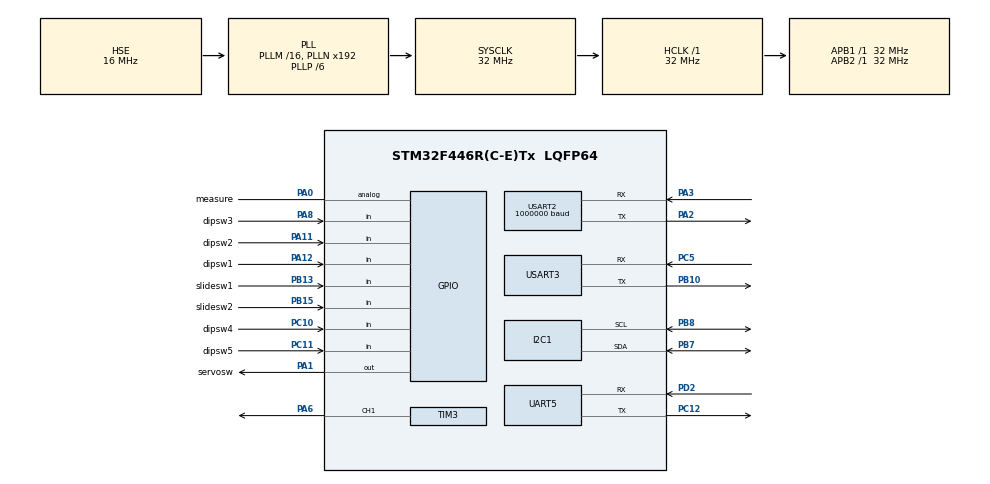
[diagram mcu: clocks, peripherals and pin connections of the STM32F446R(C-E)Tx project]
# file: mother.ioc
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Dma.Request0=TIM3_CH1/TRIG
Dma.Request1=USART2_RX
Dma.Request2=UART5_RX
Dma.TIM3_CH1/TRIG.0.Direction=DMA_MEMORY_TO_PERIPH
Dma.TIM3_CH1/TRIG.0.FIFOMode=DMA_FIFOMODE_DISABLE
Dma.TIM3_CH1/TRIG.0.Instance=DMA1_Stream4
Dma.TIM3_CH1/TRIG.0.MemDataAlignment=DMA_MDATAALIGN_WORD
Dma.TIM3_CH1/TRIG.0.MemInc=DMA_MINC_ENABLE
Dma.TIM3_CH1/TRIG.0.Mode=DMA_CIRCULAR
Dma.TIM3_CH1/TRIG.0.PeriphDataAlignment=DMA_PDATAALIGN_WORD
Dma.TIM3_CH1/TRIG.0.PeriphInc=DMA_PINC_DISABLE
Dma.TIM3_CH1/TRIG.0.Priority=DMA_PRIORITY_VERY_HIGH
Dma.UART5_RX.2.Direction=DMA_PERIPH_TO_MEMORY
Dma.UART5_RX.2.FIFOMode=DMA_FIFOMODE_DISABLE
Dma.UART5_RX.2.Instance=DMA1_Stream0
Dma.UART5_RX.2.MemDataAlignment=DMA_MDATAALIGN_BYTE
Dma.UART5_RX.2.MemInc=DMA_MINC_ENABLE
Dma.UART5_RX.2.Mode=DMA_CIRCULAR
Dma.UART5_RX.2.PeriphDataAlignment=DMA_PDATAALIGN_BYTE
Dma.UART5_RX.2.PeriphInc=DMA_PINC_DISABLE
Dma.UART5_RX.2.Priority=DMA_PRIORITY_MEDIUM
Dma.USART2_RX.1.Direction=DMA_PERIPH_TO_MEMORY
Dma.USART2_RX.1.FIFOMode=DMA_FIFOMODE_DISABLE
Dma.USART2_RX.1.Instance=DMA1_Stream5
Dma.USART2_RX.1.MemDataAlignment=DMA_MDATAALIGN_BYTE
Dma.USART2_RX.1.MemInc=DMA_MINC_ENABLE
Dma.USART2_RX.1.Mode=DMA_CIRCULAR
Dma.USART2_RX.1.PeriphDataAlignment=DMA_PDATAALIGN_BYTE
Dma.USART2_RX.1.PeriphInc=DMA_PINC_DISABLE
Dma.USART2_RX.1.Priority=DMA_PRIORITY_MEDIUM
Mcu.Family=STM32F4
Mcu.Name=STM32F446R(C-E)Tx
Mcu.Package=LQFP64
NVIC.DMA1_Stream0_IRQn=true\:0\:0\:false\:false\:true\:false\:true\:true
NVIC.DMA1_Stream4_IRQn=true\:0\:0\:false\:false\:true\:false\:true\:true
NVIC.DMA1_Stream5_IRQn=true\:0\:0\:false\:false\:true\:false\:true\:true
NVIC.PriorityGroup=NVIC_PRIORITYGROUP_4
NVIC.TIM3_IRQn=true\:0\:0\:false\:false\:true\:true\:true\:true
NVIC.TIM6_DAC_IRQn=true\:0\:0\:false\:false\:true\:true\:true\:true
PA0-WKUP.GPIO_Label=measure
PA0-WKUP.Signal=GPIO_Analog
PA1.GPIO_Label=servosw
PA1.Signal=GPIO_Output
PA11.GPIO_Label=dipsw2
PA11.Signal=GPIO_Input
PA12.GPIO_Label=dipsw1
PA12.Signal=GPIO_Input
PA2.Mode=Asynchronous
PA2.Signal=USART2_TX
PA3.Mode=Asynchronous
PA3.Signal=USART2_RX
PA6.Signal=S_TIM3_CH1
PA8.GPIO_Label=dipsw3
PA8.Signal=GPIO_Input
PB10.Mode=Asynchronous
PB10.Signal=USART3_TX
PB13.GPIO_Label=slidesw1
PB13.Signal=GPIO_Input
PB15.GPIO_Label=slidesw2
PB15.Signal=GPIO_Input
PB7.Mode=I2C
PB7.Signal=I2C1_SDA
PB8.Mode=I2C
PB8.Signal=I2C1_SCL
PC10.GPIO_Label=dipsw4
PC10.Signal=GPIO_Input
PC11.GPIO_Label=dipsw5
PC11.Signal=GPIO_Input
PC12.Mode=Asynchronous
PC12.Signal=UART5_TX
PC5.Mode=Asynchronous
PC5.Signal=USART3_RX
PD2.Mode=Asynchronous
PD2.Signal=UART5_RX
PH0-OSC_IN.Mode=HSE-External-Oscillator
PH0-OSC_IN.Signal=RCC_OSC_IN
PH1-OSC_OUT.Mode=HSE-External-Oscillator
PH1-OSC_OUT.Signal=RCC_OSC_OUT
ProjectManager.HeapSize=0x200
ProjectManager.StackSize=0x400
ProjectManager.TargetToolchain=STM32CubeIDE
RCC.AHBFreq_Value=32000000
RCC.APB1Freq_Value=32000000
RCC.APB1TimFreq_Value=32000000
RCC.APB2Freq_Value=32000000
RCC.APB2TimFreq_Value=32000000
RCC.CortexFreq_Value=32000000
RCC.HCLKFreq_Value=32000000
RCC.HSE_VALUE=16000000
RCC.PLLP=RCC_PLLP_DIV6
RCC.PLLSourceVirtual=RCC_PLLSOURCE_HSE
RCC.SYSCLKFreq_VALUE=32000000
RCC.SYSCLKSource=RCC_SYSCLKSOURCE_PLLCLK
RCC.USBFreq_Value=96000000
RCC.VCOOutputFreq_Value=192000000
SH.S_TIM3_CH1.0=TIM3_CH1,PWM Generation1 CH1
TIM3.Channel-PWM\ Generation1\ CH1=TIM_CHANNEL_1
TIM3.Period=40-1
TIM3.Prescaler=1-1
TIM6.Period=1000-1
TIM6.Prescaler=32-1
UART5.VirtualMode=Asynchronous
USART2.BaudRate=1000000
USART2.VirtualMode=VM_ASYNC
USART3.VirtualMode=VM_ASYNC
VP_TIM3_VS_ClockSourceINT.Mode=Internal
VP_TIM6_VS_ClockSourceINT.Mode=Enable_Timer
board=custom

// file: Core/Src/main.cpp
/* USER CODE BEGIN Header */
/**
 ******************************************************************************
 * @file           : main.c
 * @brief          : Main program body
 ******************************************************************************
 * @attention
 *
 * Copyright (c) 2024 STMicroelectronics.
 * All rights reserved.
 *
 * This software is licensed under terms that can be found in the LICENSE file
 * in the root directory of this software component.
 * If no LICENSE file comes with this software, it is provided AS-IS.
 *
 ******************************************************************************
 */
/* USER CODE END Header */
#include "main.h"

/* USER CODE BEGIN Includes */
#include "ws2812c.h"
#include "calc.h"
#include "STS.h"
#include "BNO055.hpp"

/* USER CODE END Includes */

I2C_HandleTypeDef hi2c1;

TIM_HandleTypeDef htim3;
TIM_HandleTypeDef htim6;
DMA_HandleTypeDef hdma_tim3_ch1_trig;

UART_HandleTypeDef huart5;
UART_HandleTypeDef huart2;
UART_HandleTypeDef huart3;
DMA_HandleTypeDef hdma_uart5_rx;
DMA_HandleTypeDef hdma_usart2_rx;

/* USER CODE BEGIN PV */
WS2812C NeopixelTape(&htim3, TIM_CHANNEL_1, &hdma_tim3_ch1_trig);
CALC calc;
STS servo0(&huart2, 0);
STS servo1(&huart2, 1);
STS servo2(&huart2, 2);
STS servo3(&huart2, 3);

int16_t servoPos0 = 0;
int16_t servoPos1 = 0;
int16_t servoPos2 = 0;
int16_t servoPos3 = 0;
uint8_t rxBuf[128];
uint8_t tweliteRxBuf[128];

int16_t ledPos0 = 0;
int16_t ledPos1 = 0;
int16_t ledPos2 = 0;

uint8_t sendArray[8] = {255, 255, 0, 0, 0, 0, 0, 0};
uint16_t degree = 0;

uint8_t ready = 0;
int16_t gyro;

uint8_t ID = 0;

uint32_t m = 0;

uint8_t mode = 0;
uint16_t count = 0;
uint8_t hue = 0;

uint32_t millis = 0;

uint16_t countLocal = 0;

static int16_t i = 8;
static int16_t moveRotation = 0;

uint8_t tweliteData[4] = {0};

uint16_t beat = 0;
uint8_t measureA = 0;
uint8_t measureB = 0;

/* USER CODE END PV */

void SystemClock_Config(void);
static void MX_GPIO_Init(void);
static void MX_DMA_Init(void);
static void MX_I2C1_Init(void);
static void MX_TIM3_Init(void);
static void MX_USART2_UART_Init(void);
static void MX_USART3_UART_Init(void);
static void MX_UART5_Init(void);
static void MX_TIM6_Init(void);
/* USER CODE BEGIN PFP */
void get_position(uint8_t servoID);
void sendData(uint16_t angle, uint8_t speed, int16_t rotation);
void twelite();
void setMode();
void modeError();
void mode0();
void mode1();
void mode2();
void mode3();
void mode4();
void mode5();
void mode6();
void mode7();
void mode8();
void mode9();
void mode10();
void mode11();
void mode12();
void mode13();
void mode14();
void mode15();
void mode16();
void mode17();
void mode18();
void mode19();
void mode20();
void mode21();
void mode22();
void mode23();
void mode24();
void mode25();

/* USER CODE END PFP */

/* USER CODE BEGIN 0 */
void HAL_TIM_PWM_PulseFinishedCallback(TIM_HandleTypeDef *htim)
{
  if (htim == &htim3)
  {
    NeopixelTape.execute();
  }
}

void HAL_TIM_PeriodElapsedCallback(TIM_HandleTypeDef *htim)
{
  if (htim == &htim6)
  {
    millis++;
  }
}

/* USER CODE END 0 */

int main(void)
{

  /* MCU Configuration--------------------------------------------------------*/

  /* Reset of all peripherals, Initializes the Flash interface and the Systick. */
  HAL_Init();

  /* Configure the system clock */
  SystemClock_Config();

  /* Initialize all configured peripherals */
  MX_GPIO_Init();
  MX_DMA_Init();
  MX_I2C1_Init();
  MX_TIM3_Init();
  MX_USART2_UART_Init();
  MX_USART3_UART_Init();
  MX_UART5_Init();
  MX_TIM6_Init();
  /* USER CODE BEGIN 2 */
  NeopixelTape.init();

  if (HAL_GPIO_ReadPin(dipsw1_GPIO_Port, dipsw1_Pin) == 1)
  {
    ID = 1;
  }
  else if (HAL_GPIO_ReadPin(dipsw2_GPIO_Port, dipsw2_Pin) == 1)
  {
    ID = 2;
  }
  else if (HAL_GPIO_ReadPin(dipsw3_GPIO_Port, dipsw3_Pin) == 1)
  {
    ID = 3;
  }
  else
  {
    while (1)
      ;
  }

  HAL_TIM_Base_Start_IT(&htim6);
  HAL_UART_Receive_DMA(&huart2, rxBuf, sizeof(rxBuf));
  HAL_UART_Receive_DMA(&huart5, tweliteRxBuf, sizeof(tweliteRxBuf));
  HAL_GPIO_WritePin(servosw_GPIO_Port, servosw_Pin, GPIO_PIN_SET);
  HAL_Delay(1000);

  while (!ready)
  {
    if (HAL_I2C_IsDeviceReady(&hi2c1, 0x28 << 1, 10, 1000) == HAL_OK)
    {
      ready = 1;
    }
    else
    {
      HAL_Delay(100);
    }
  }

  /* USER CODE END 2 */

  /* Infinite loop */
  /* USER CODE BEGIN WHILE */
  unsigned char address = 0x28;
  BNO055 bno055(hi2c1, address);
  EULAR e;

  while (1)
  {
    /* USER CODE END WHILE */

    /* USER CODE BEGIN 3 */
    e = bno055.get_eular();
    gyro = (e.z / M_PI) * 180;

    ledPos0 = (-gyro + ((servoPos0 % 4096 + 4096) % 4096) * 360 / 4096 + 360) % 360;
    ledPos2 = (ledPos0 + ((servoPos2 % 4096 + 4096) % 4096) * 360 / 4096) % 360;

    get_position(0);
    get_position(2);

    twelite();
	setMode();

	if (mode == 0)
	{
	  mode0();
	}
	else if (mode == 1 || millis < 7500)
	{
	  mode1();
	}
	else if (mode == 2 || millis < 22500)
	{
	  mode2();
	}
	else if (mode == 3 || millis < 37000)
	{
	  mode3();
	}
	else if (mode == 4 || millis < 52000)
	{
	  mode4();
	}
	else if (mode == 5 || millis < 60000)
	{
	  mode5();
	}
	else if (mode == 6 || millis < 67000)
	{
	  mode6();
	}
	else if (mode == 7 || millis < 74500)
	{
	  mode7();
	}
	else if (mode == 8 || millis < 100000)
	{
	  mode8();
	}
	else if (mode == 9 || millis < 200000)
	{
	  mode9();
	}
	else if (mode == 10 || millis < 208500)
	{
	  mode10();
	}
	else if (mode == 11 || millis < 222500)
	{
	  mode11();
	}
	else if (mode == 12 || millis < 234700)
	{
	  mode12();
	}
	else if (mode == 13 || millis < 238000)
	{
	  mode13();
	}
	else if (mode == 14 || millis < 244500)
	{
	  mode14();
	}
	else if (mode == 15 || millis >= 244500)
	{
	  mode15();
	}
	else
	{
	  modeError();
	}
  }
  /* USER CODE END 3 */
}

void SystemClock_Config(void)
{
  RCC_OscInitTypeDef RCC_OscInitStruct = {0};
  RCC_ClkInitTypeDef RCC_ClkInitStruct = {0};

  /** Configure the main internal regulator output voltage
   */
  __HAL_RCC_PWR_CLK_ENABLE();
  __HAL_PWR_VOLTAGESCALING_CONFIG(PWR_REGULATOR_VOLTAGE_SCALE3);

  /** Initializes the RCC Oscillators according to the specified parameters
   * in the RCC_OscInitTypeDef structure.
   */
  RCC_OscInitStruct.OscillatorType = RCC_OSCILLATORTYPE_HSE;
  RCC_OscInitStruct.HSEState = RCC_HSE_ON;
  RCC_OscInitStruct.PLL.PLLState = RCC_PLL_ON;
  RCC_OscInitStruct.PLL.PLLSource = RCC_PLLSOURCE_HSE;
  RCC_OscInitStruct.PLL.PLLM = 16;
  RCC_OscInitStruct.PLL.PLLN = 192;
  RCC_OscInitStruct.PLL.PLLP = RCC_PLLP_DIV6;
  RCC_OscInitStruct.PLL.PLLQ = 2;
  RCC_OscInitStruct.PLL.PLLR = 2;
  if (HAL_RCC_OscConfig(&RCC_OscInitStruct) != HAL_OK)
  {
    Error_Handler();
  }

  /** Initializes the CPU, AHB and APB buses clocks
   */
  RCC_ClkInitStruct.ClockType = RCC_CLOCKTYPE_HCLK | RCC_CLOCKTYPE_SYSCLK | RCC_CLOCKTYPE_PCLK1 | RCC_CLOCKTYPE_PCLK2;
  RCC_ClkInitStruct.SYSCLKSource = RCC_SYSCLKSOURCE_PLLCLK;
  RCC_ClkInitStruct.AHBCLKDivider = RCC_SYSCLK_DIV1;
  RCC_ClkInitStruct.APB1CLKDivider = RCC_HCLK_DIV1;
  RCC_ClkInitStruct.APB2CLKDivider = RCC_HCLK_DIV1;

  if (HAL_RCC_ClockConfig(&RCC_ClkInitStruct, FLASH_LATENCY_1) != HAL_OK)
  {
    Error_Handler();
  }
}

static void MX_I2C1_Init(void)
{

  hi2c1.Instance = I2C1;
  hi2c1.Init.ClockSpeed = 100000;
  hi2c1.Init.DutyCycle = I2C_DUTYCYCLE_2;
  hi2c1.Init.OwnAddress1 = 0;
  hi2c1.Init.AddressingMode = I2C_ADDRESSINGMODE_7BIT;
  hi2c1.Init.DualAddressMode = I2C_DUALADDRESS_DISABLE;
  hi2c1.Init.OwnAddress2 = 0;
  hi2c1.Init.GeneralCallMode = I2C_GENERALCALL_DISABLE;
  hi2c1.Init.NoStretchMode = I2C_NOSTRETCH_DISABLE;
  if (HAL_I2C_Init(&hi2c1) != HAL_OK)
  {
    Error_Handler();
  }
}

static void MX_TIM3_Init(void)
{

  TIM_ClockConfigTypeDef sClockSourceConfig = {0};
  TIM_MasterConfigTypeDef sMasterConfig = {0};
  TIM_OC_InitTypeDef sConfigOC = {0};

  htim3.Instance = TIM3;
  htim3.Init.Prescaler = 1 - 1;
  htim3.Init.CounterMode = TIM_COUNTERMODE_UP;
  htim3.Init.Period = 40 - 1;
  htim3.Init.ClockDivision = TIM_CLOCKDIVISION_DIV1;
  htim3.Init.AutoReloadPreload = TIM_AUTORELOAD_PRELOAD_DISABLE;
  if (HAL_TIM_Base_Init(&htim3) != HAL_OK)
  {
    Error_Handler();
  }
  sClockSourceConfig.ClockSource = TIM_CLOCKSOURCE_INTERNAL;
  if (HAL_TIM_ConfigClockSource(&htim3, &sClockSourceConfig) != HAL_OK)
  {
    Error_Handler();
  }
  if (HAL_TIM_PWM_Init(&htim3) != HAL_OK)
  {
    Error_Handler();
  }
  sMasterConfig.MasterOutputTrigger = TIM_TRGO_RESET;
  sMasterConfig.MasterSlaveMode = TIM_MASTERSLAVEMODE_DISABLE;
  if (HAL_TIMEx_MasterConfigSynchronization(&htim3, &sMasterConfig) != HAL_OK)
  {
    Error_Handler();
  }
  sConfigOC.OCMode = TIM_OCMODE_PWM1;
  sConfigOC.Pulse = 0;
  sConfigOC.OCPolarity = TIM_OCPOLARITY_HIGH;
  sConfigOC.OCFastMode = TIM_OCFAST_DISABLE;
  if (HAL_TIM_PWM_ConfigChannel(&htim3, &sConfigOC, TIM_CHANNEL_1) != HAL_OK)
  {
    Error_Handler();
  }
  HAL_TIM_MspPostInit(&htim3);
}

static void MX_TIM6_Init(void)
{

  TIM_MasterConfigTypeDef sMasterConfig = {0};

  htim6.Instance = TIM6;
  htim6.Init.Prescaler = 32 - 1;
  htim6.Init.CounterMode = TIM_COUNTERMODE_UP;
  htim6.Init.Period = 1000 - 1;
  htim6.Init.AutoReloadPreload = TIM_AUTORELOAD_PRELOAD_DISABLE;
  if (HAL_TIM_Base_Init(&htim6) != HAL_OK)
  {
    Error_Handler();
  }
  sMasterConfig.MasterOutputTrigger = TIM_TRGO_RESET;
  sMasterConfig.MasterSlaveMode = TIM_MASTERSLAVEMODE_DISABLE;
  if (HAL_TIMEx_MasterConfigSynchronization(&htim6, &sMasterConfig) != HAL_OK)
  {
    Error_Handler();
  }
}

static void MX_UART5_Init(void)
{

  huart5.Instance = UART5;
  huart5.Init.BaudRate = 115200;
  huart5.Init.WordLength = UART_WORDLENGTH_8B;
  huart5.Init.StopBits = UART_STOPBITS_1;
  huart5.Init.Parity = UART_PARITY_NONE;
  huart5.Init.Mode = UART_MODE_TX_RX;
  huart5.Init.HwFlowCtl = UART_HWCONTROL_NONE;
  huart5.Init.OverSampling = UART_OVERSAMPLING_16;
  if (HAL_UART_Init(&huart5) != HAL_OK)
  {
    Error_Handler();
  }
}

static void MX_USART2_UART_Init(void)
{

  huart2.Instance = USART2;
  huart2.Init.BaudRate = 1000000;
  huart2.Init.WordLength = UART_WORDLENGTH_8B;
  huart2.Init.StopBits = UART_STOPBITS_1;
  huart2.Init.Parity = UART_PARITY_NONE;
  huart2.Init.Mode = UART_MODE_TX_RX;
  huart2.Init.HwFlowCtl = UART_HWCONTROL_NONE;
  huart2.Init.OverSampling = UART_OVERSAMPLING_16;
  if (HAL_UART_Init(&huart2) != HAL_OK)
  {
    Error_Handler();
  }
}

static void MX_USART3_UART_Init(void)
{

  huart3.Instance = USART3;
  huart3.Init.BaudRate = 115200;
  huart3.Init.WordLength = UART_WORDLENGTH_8B;
  huart3.Init.StopBits = UART_STOPBITS_1;
  huart3.Init.Parity = UART_PARITY_NONE;
  huart3.Init.Mode = UART_MODE_TX_RX;
  huart3.Init.HwFlowCtl = UART_HWCONTROL_NONE;
  huart3.Init.OverSampling = UART_OVERSAMPLING_16;
  if (HAL_UART_Init(&huart3) != HAL_OK)
  {
    Error_Handler();
  }
}

static void MX_DMA_Init(void)
{

  /* DMA controller clock enable */
  __HAL_RCC_DMA1_CLK_ENABLE();

  /* DMA interrupt init */
  /* DMA1_Stream0_IRQn interrupt configuration */
  HAL_NVIC_SetPriority(DMA1_Stream0_IRQn, 0, 0);
  HAL_NVIC_EnableIRQ(DMA1_Stream0_IRQn);
  /* DMA1_Stream4_IRQn interrupt configuration */
  HAL_NVIC_SetPriority(DMA1_Stream4_IRQn, 0, 0);
  HAL_NVIC_EnableIRQ(DMA1_Stream4_IRQn);
  /* DMA1_Stream5_IRQn interrupt configuration */
  HAL_NVIC_SetPriority(DMA1_Stream5_IRQn, 0, 0);
  HAL_NVIC_EnableIRQ(DMA1_Stream5_IRQn);
}

static void MX_GPIO_Init(void)
{
  GPIO_InitTypeDef GPIO_InitStruct = {0};

  /* GPIO Ports Clock Enable */
  __HAL_RCC_GPIOH_CLK_ENABLE();
  __HAL_RCC_GPIOA_CLK_ENABLE();
  __HAL_RCC_GPIOC_CLK_ENABLE();
  __HAL_RCC_GPIOB_CLK_ENABLE();
  __HAL_RCC_GPIOD_CLK_ENABLE();

  /*Configure GPIO pin Output Level */
  HAL_GPIO_WritePin(servosw_GPIO_Port, servosw_Pin, GPIO_PIN_RESET);

  /*Configure GPIO pin : measure_Pin */
  GPIO_InitStruct.Pin = measure_Pin;
  GPIO_InitStruct.Mode = GPIO_MODE_ANALOG;
  GPIO_InitStruct.Pull = GPIO_NOPULL;
  HAL_GPIO_Init(measure_GPIO_Port, &GPIO_InitStruct);

  /*Configure GPIO pin : servosw_Pin */
  GPIO_InitStruct.Pin = servosw_Pin;
  GPIO_InitStruct.Mode = GPIO_MODE_OUTPUT_PP;
  GPIO_InitStruct.Pull = GPIO_NOPULL;
  GPIO_InitStruct.Speed = GPIO_SPEED_FREQ_LOW;
  HAL_GPIO_Init(servosw_GPIO_Port, &GPIO_InitStruct);

  /*Configure GPIO pins : slidesw1_Pin slidesw2_Pin */
  GPIO_InitStruct.Pin = slidesw1_Pin | slidesw2_Pin;
  GPIO_InitStruct.Mode = GPIO_MODE_INPUT;
  GPIO_InitStruct.Pull = GPIO_NOPULL;
  HAL_GPIO_Init(GPIOB, &GPIO_InitStruct);

  /*Configure GPIO pins : dipsw3_Pin dipsw2_Pin dipsw1_Pin */
  GPIO_InitStruct.Pin = dipsw3_Pin | dipsw2_Pin | dipsw1_Pin;
  GPIO_InitStruct.Mode = GPIO_MODE_INPUT;
  GPIO_InitStruct.Pull = GPIO_NOPULL;
  HAL_GPIO_Init(GPIOA, &GPIO_InitStruct);

  /*Configure GPIO pins : dipsw4_Pin dipsw5_Pin */
  GPIO_InitStruct.Pin = dipsw4_Pin | dipsw5_Pin;
  GPIO_InitStruct.Mode = GPIO_MODE_INPUT;
  GPIO_InitStruct.Pull = GPIO_NOPULL;
  HAL_GPIO_Init(GPIOC, &GPIO_InitStruct);

}

/* USER CODE BEGIN 4 */
void get_position(uint8_t servoID)
{
  static int16_t inst_pos0 = 0;
  static int16_t inst_pos1 = 0;
  static int16_t inst_pos2 = 0;
  static int16_t inst_pos3 = 0;
  static uint8_t readPos = 0;
  uint8_t checksum = 0;
  uint8_t read[15] = {0};
  uint8_t position[6] = {0};

  switch (servoID)
  {
  case 0:
    servo0.send();
    break;
  case 1:
    servo1.send();
    break;
  case 2:
    servo2.send();
    break;
  case 3:
    servo3.send();
    break;
  default:
    break;
  }

  HAL_Delay(1);

  readPos = huart2.hdmarx->Instance->NDTR;
  readPos = sizeof(rxBuf) - readPos;

  if (readPos >= 15)
  {
    for (int i = 0; i < 15; i++)
    {
      read[i] = rxBuf[readPos - 14 + i];
      HAL_Delay(1);
    }
  }

  for (int i = 0; i < 8; i++)
  {
    if (read[i] == 255 && read[i + 1] == 255)
    {
      for (int j = 0; j < 6; j++)
      {
        position[j] = read[i + j + 2];
      }
    }
  }

  for (int i = 0; i < 5; i++)
  {
    checksum += position[i];
  }
  checksum = ~checksum;

  if (checksum == position[5] && position[0] == 0)
  {
    inst_pos0 = position[3] + position[4] * 256;
    servoPos0 = servo0.calculate_position(inst_pos0);
  }
  if (checksum == position[5] && position[0] == 1)
  {
    inst_pos1 = position[3] + position[4] * 256;
    servoPos1 = servo1.calculate_position(inst_pos1);
  }
  if (checksum == position[5] && position[0] == 2)
  {
    inst_pos2 = position[3] + position[4] * 256;
    servoPos2 = servo2.calculate_position(inst_pos2);
  }
  if (checksum == position[5] && position[0] == 3)
  {
    inst_pos3 = position[3] + position[4] * 256;
    servoPos3 = servo3.calculate_position(inst_pos3);
  }
}

void sendData(uint16_t angle, uint8_t speed, int16_t rotation)
{
  uint8_t checksum = 0;

  rotation += 360;

  sendArray[2] = angle / 256;
  sendArray[3] = angle % 256;
  sendArray[4] = speed;
  sendArray[5] = rotation / 256;
  sendArray[6] = rotation % 256;

  for (uint8_t i = 2; i < 7; i++)
  {
    checksum += sendArray[i];
  }
  checksum = ~checksum;
  checksum += 10;
  sendArray[7] = checksum;
  HAL_UART_Transmit(&huart3, sendArray, 8, 100);
  HAL_Delay(1);
}

void twelite()
{
  static uint8_t readPos = 0;
  uint8_t tweliteRead[9] = {0};

  HAL_Delay(1);

  readPos = huart5.hdmarx->Instance->NDTR;
  readPos = sizeof(tweliteRxBuf) - readPos;

  if (readPos >= 9)
  {
    for (int i = 0; i < 9; i++)
    {
      tweliteRead[i] = tweliteRxBuf[readPos - 8 + i];
      HAL_Delay(1);
    }
  }

  for (int i = 0; i < 5; i++)
  {
    if (tweliteRead[i] == 250 && tweliteRead[i + 1] <= 20 && tweliteRead[i + 1] >= 5)
    {
      for (int j = 0; j < 4; j++)
      {
        tweliteData[j] = tweliteRead[i + j + 1];
      }
    }
  }

  mode = tweliteData[0] - 5;
  count = (tweliteData[1] - 5) * 240 + tweliteData[2] - 5;
  beat = (int)(count / 20.32);
  if (mode < 10)
  {
    measureA = beat / 4;
  }
  else
  {
    measureB = (beat - 18) / 4;
  }
  hue = tweliteData[3];
}

void setMode()
{
  static uint8_t modeStatus = 0;
  if (mode == 1 && modeStatus == 0)
  {
    millis = 0;
    modeStatus++;
  }
  if (mode == 2 && modeStatus == 1)
  {
    millis = 7500;
    modeStatus++;
  }
  if (mode == 3 && modeStatus == 2)
  {
    millis = 22500;
    modeStatus++;
  }
  if (mode == 4 && modeStatus == 3)
  {
    millis = 37000;
    modeStatus++;
  }
  if (mode == 5 && modeStatus == 4)
  {
    millis = 52000;
    modeStatus++;
  }
  if (mode == 6 && modeStatus == 5)
  {
    millis = 60000;
    modeStatus++;
  }
  if (mode == 7 && modeStatus == 6)
  {
    millis = 67000;
    modeStatus++;
  }
  if (mode == 8 && modeStatus == 7)
  {
    millis = 745000;
    modeStatus++;
  }
  if (mode == 9 && modeStatus == 8)
  {
    millis = 1000000;
    modeStatus++;
  }
  if (mode == 10 && modeStatus == 11)
  {
    millis = 2000000;
    modeStatus++;
  }
  if (mode == 11 && modeStatus == 10)
  {
    millis = 2008500;
    modeStatus++;
  }
  if (mode == 12 && modeStatus == 11)
  {
    millis = 2022500;
    modeStatus++;
  }
  if (mode == 13 && modeStatus == 12)
  {
    millis = 2034700;
    modeStatus++;
  }
  if (mode == 14 && modeStatus == 13)
  {
    millis = 2038000;
    modeStatus++;
  }
  if (mode == 15 && modeStatus == 14)
  {
    millis = 2044500;
    modeStatus++;
  }
}

void mode0()
{
  servo0.moveCont(500, 2048, servoPos0);
  servo1.moveStop1(500, 2048);
  servo2.moveCont(500, 2048, servoPos2);
  servo3.moveStop3(500, 1800);
  for (uint8_t led = 0; led < 48; led++)
  {
    NeopixelTape.set_hsv(led, hue, 255, 100);
  }
  NeopixelTape.show();
  HAL_Delay(1);
}

void mode1()
{
  servo0.moveCont(0, 2048, servoPos0);
  servo1.moveStop1(0, 2048);
  servo2.moveCont(0, 2048, servoPos2);
  servo3.moveStop3(0, 1800);
  for (uint8_t led = 0; led < 48; led++)
  {
    NeopixelTape.set_hsv(led, 0, 0, 0);
    NeopixelTape.show();
    HAL_Delay(1);
  }
}

void mode2()
{
  servo0.moveCont(0, 2048, servoPos0);
  servo1.moveStop1(0, 2048);
  servo2.moveCont(0, 2048, servoPos2);
  servo3.moveStop3(0, 1800);
}

void mode3()
{
  countLocal = millis - 22500;
  if (ID == 1)
  {
    for (uint8_t led = 0; led < 16; led++)
    {
      if (countLocal < 10000)
      {
        servo0.moveCont(0, 2048, servoPos0);
        servo1.moveStop1(0, 2048);
        servo2.moveCont(0, 2048, servoPos2);
        servo3.moveStop3(0, 1800);
        NeopixelTape.set_hsv(led, hue, 255, 255);
        NeopixelTape.set_hsv(led + 16, hue, 255, calc.similarityNormal(led, 180, countLocal / 30));
        NeopixelTape.set_hsv(led + 32, hue, 255, 0);
      }
      if (countLocal > 10000 && countLocal < 12550)
      {
        servo0.moveCont(0, 2048, servoPos0);
        servo1.moveStop1(0, 2048);
        servo2.moveCont(0, 2048, servoPos2);
        servo3.moveStop3(0, 1800);
        NeopixelTape.set_hsv(led, hue, 255, 255);
        NeopixelTape.set_hsv(led + 16, hue, 255, 255);
        NeopixelTape.set_hsv(led + 32, hue, 255, (countLocal - 10000) / 10);
      }
      if (countLocal > 12550)
      {
        servo0.moveCont(500, 2048, servoPos0);
        servo1.moveStop1(2000, 1024);
        servo2.moveCont(500, 2048, servoPos2);
        servo3.moveStop3(2000, 2800);
        NeopixelTape.set_hsv(led, hue, 255, 0);
        NeopixelTape.set_hsv(led + 16, hue, 255, 0);
        NeopixelTape.set_hsv(led + 32, hue, 255, 0);
      }
    }
    NeopixelTape.show();
    HAL_Delay(1);
  }
  else
  {
    for (uint8_t led = 0; led < 48; led++)
    {
      NeopixelTape.set_hsv(led, 0, 0, 0);
    }
    NeopixelTape.show();
    HAL_Delay(1);
    servo0.moveCont(500, 2048, servoPos0);
    servo1.moveStop1(500, 2048);
    servo2.moveCont(500, 2048, servoPos2);
    servo3.moveStop3(500, 1800);
  }
}

void mode4()
{
  countLocal = millis - 37000;
  if (ID == 1)
  {
    for (uint8_t led = 0; led < 48; led++)
    {
      NeopixelTape.set_hsv(led, 0, 0, 0);
    }
    NeopixelTape.show();
    HAL_Delay(1);
    servo0.moveCont(500, 2048, servoPos0);
    servo1.moveStop1(500, 1000);
    servo2.moveCont(500, 2048, servoPos2);
    servo3.moveStop3(500, 3000);
  }
  if (ID == 2 && countLocal < 7500)
  {
    servo0.moveCont(1000, 6144, servoPos0);
    servo1.moveStop1(500, 2048);
    servo2.moveCont(1000, 6144, servoPos2);
    servo3.moveStop3(500, 1800);
    for (uint8_t led = 0; led < 48; led++)
    {
      NeopixelTape.set_hsv(led, hue, 255, 100);
      NeopixelTape.show();
    }
  }
  if (ID == 2 && countLocal > 7500)
  {
    servo0.moveCont(1000, 6144, servoPos0);
    servo1.moveStop1(2000, 1000);
    servo2.moveCont(1000, 6144, servoPos2);
    servo3.moveStop3(2000, 3000);
    for (uint8_t led = 0; led < 48; led++)
    {
      NeopixelTape.set_hsv(led, hue, 255, 0);
    }
    NeopixelTape.show();
    HAL_Delay(1);
  }
  if (ID == 3 && countLocal < 7500)
  {
    servo0.moveCont(500, 2048, servoPos0);
    servo1.moveStop1(500, 2048);
    servo2.moveCont(500, 2048, servoPos2);
    servo3.moveStop3(500, 1800);
  }
  if (ID == 3 && countLocal > 7500 && countLocal < 11800)
  {
    servo0.moveCont(0, 2048, servoPos0);
    servo1.moveStop1(0, 2048);
    servo2.moveCont(0, 2048, servoPos2);
    servo3.moveStop3(0, 1800);
    moveRotation = calc.calcRotation((countLocal - 7500) / 11, gyro);
    sendData(0, 0, moveRotation);
    for (uint8_t led = 0; led < 16; led++)
    {
      NeopixelTape.set_hsv(led, calc.similarityRise(led, (ledPos0 + 180) % 360, 90, hue, 100), 255, calc.similarityNormal(led, (ledPos0 + 180) % 360, 90));
    }
    NeopixelTape.show();
    HAL_Delay(1);
  }
  if (ID == 3 && countLocal > 11800)
  {
    sendData(0, 0, 0);
    servo0.moveCont(2000, 3072, servoPos0);
    servo1.moveStop1(2000, 1024);
    servo2.moveCont(1000, 2048, servoPos2);
    servo3.moveStop3(2000, 2800);
    for (uint8_t led = 0; led < 16; led++)
    {
      NeopixelTape.set_hsv(led, 0, 0, 0);
    }
    NeopixelTape.show();
    HAL_Delay(1);
  }
}

void mode5()
{
  servo0.moveCont(2000, 2048, servoPos0);
  servo1.moveStop1(2000, 2048);
  servo2.moveCont(2000, 2048, servoPos2);
  servo3.moveStop3(2000, 1800);
  for (uint8_t led = 0; led < 48; led++)
  {
    NeopixelTape.set_hsv(led, 0, 0, 0);
  }
  NeopixelTape.show();
  HAL_Delay(1);
}

void mode6()
{
  countLocal = millis - 60000;
  servo0.moveCont(0, 2048, servoPos0);
  servo1.moveStop1(0, 2048);
  servo2.moveCont(0, 2048, servoPos2);
  servo3.moveStop3(0, 1800);
  if ((countLocal / 3) % 360 > 300)
  {
    for (uint8_t led = 32; led < 48; led++)
    {
      NeopixelTape.set_hsv(led, hue, 255, 255);
    }
  }
  else if ((countLocal / 3) % 360 > 30)
  {
    for (uint8_t led = 0; led < 16; led++)
    {
      NeopixelTape.set_hsv(led, hue, 255, 255);
      NeopixelTape.set_hsv(led + 16, hue, 255, calc.similarityNormal(led, 180, (countLocal / 3) % 360));
      NeopixelTape.set_hsv(led + 32, hue, 255, 0);
    }
  }
  else
  {
    for (uint8_t led = 0; led < 16; led++)
    {
      NeopixelTape.set_hsv(led, hue, 255, 0);
      NeopixelTape.set_hsv(led + 16, hue, 255, 0);
      NeopixelTape.set_hsv(led + 32, hue, 255, 0);
    }
  }
  NeopixelTape.show();
  HAL_Delay(1);
}

void mode7()
{
  static uint16_t randomNum = 0;
  randomNum += 47;
  servo0.moveCont(0, 2000 + randomNum % 128, servoPos0);
  servo1.moveStop1(0, 2000 + randomNum % 128);
  servo2.moveCont(0, 2000 + randomNum % 128, servoPos2);
  servo3.moveStop3(0, 2000 + randomNum % 128);
  for (uint8_t led = 0; led < 48; led++)
  {
    NeopixelTape.set_hsv(led, randomNum, randomNum, randomNum);
  }
  NeopixelTape.show();
  HAL_Delay(1);
}

void mode8()
{
  for (uint8_t led = 0; led < 48; led++)
  {
    NeopixelTape.set_hsv(led, 0, 0, 0);
  }
  NeopixelTape.show();
  HAL_Delay(1);
}

void mode9()
{
  servo0.moveCont(0, 2048, servoPos0);
  servo1.moveStop1(0, 2048);
  servo2.moveCont(0, 2048, servoPos2);
  servo3.moveStop3(0, 1800);
  for (uint8_t led = 0; led < 48; led++)
  {
    NeopixelTape.set_hsv(led, 0, 0, 0);
  }
  NeopixelTape.show();
  HAL_Delay(1);
}

void mode10()
{
  servo0.moveCont(0, 2048, servoPos0);
  servo1.moveStop1(0, 2048);
  servo2.moveCont(0, 2048, servoPos2);
  servo3.moveStop3(0, 1800);
  for (uint8_t led = 0; led < 48; led++)
  {
    NeopixelTape.set_hsv(led, 0, 0, 0);
  }
  NeopixelTape.show();
  HAL_Delay(1);
}

void mode11()
{
  countLocal = millis - 208500;
  static uint8_t status = 0;
  static uint16_t degree = 0;

  servo0.moveCont(1000, countLocal % 2000 * 2, servoPos0);
  servo1.moveStop1(1000, countLocal % 2000 + 1100);
  servo2.moveCont(1000, countLocal % 2000 * 2, servoPos2);
  servo3.moveStop3(1000, countLocal % 2000 / 2 + 1900);

  for (uint8_t led = 0; led < 48; led++)
  {
    NeopixelTape.set_hsv(led, calc.similarityPeak(led, (countLocal / 3) % 360, 90, countLocal % 256, 50), 255, calc.similarityNormal(led, (countLocal / 3) % 360, 90));
    NeopixelTape.show();
    HAL_Delay(1);
  }
}

void mode12()
{
  countLocal = millis - 222500;
  static int16_t i = 8;
  if (countLocal % 6000 < 3000)
  {
    servo0.moveCont(1500, 8191, servoPos0);
    servo2.moveCont(1500, 8191, servoPos2);

    if (i != 0)
    {
      i += 8;
      if (i >= 180)
      {
        i -= 360;
      }
    }

    moveRotation = calc.calcRotation(i, gyro);

    if (moveRotation > 0)
    {
      moveRotation += 10;
    }
    if (moveRotation < 0)
    {
      moveRotation -= 10;
    }

    sendData(0, 0, moveRotation);

    for (uint8_t led = 0; led < 16; led++)
    {
      NeopixelTape.set_hsv(led, calc.similarityRise(led, ledPos0, 90, 128, 100), 255, calc.similarityNormal(led, ledPos0, 90));
      NeopixelTape.show();
    }
    for (uint8_t led = 32; led < 48; led++)
    {
      NeopixelTape.set_hsv(led, calc.similarityRise(led, ledPos2, 90, 128, 100), 255, calc.similarityNormal(led, ledPos2, 90));
      NeopixelTape.show();
    }
  }
  else
  {
    servo0.moveCont(1500, 0, servoPos0);
    servo2.moveCont(1500, 0, servoPos2);

    if (i != 8)
    {
      i -= 8;
      if (i < -180)
      {
        i += 360;
      }
    }

    moveRotation = calc.calcRotation(i, gyro);

    if (moveRotation > 0)
    {
      moveRotation += 10;
    }
    if (moveRotation < 0)
    {
      moveRotation -= 10;
    }

    sendData(0, 0, moveRotation);

    for (uint8_t led = 0; led < 16; led++)
    {
      NeopixelTape.set_hsv(led, calc.similarityRise(led, ledPos2, 90, 128, 100), 255, calc.similarityNormal(led, 360 - ledPos2, 90));
      NeopixelTape.show();
    }
    for (uint8_t led = 32; led < 48; led++)
    {
      NeopixelTape.set_hsv(led, calc.similarityRise(led, ledPos2, 90, 128, 100), 255, calc.similarityNormal(led, 360 - ledPos2, 90));
      NeopixelTape.show();
    }
  }
}

void mode13()
{
  countLocal = millis - 234700;
  sendData(0, 0, 60);
  servo0.moveCont(1000, countLocal * 2, servoPos0);
  servo2.moveCont(1000, countLocal * 2, servoPos2);
  for (uint8_t led = 0; led < 48; led++)
  {
    NeopixelTape.set_hsv(led, calc.similarityPeak(led, (countLocal / 3) % 360, 90, countLocal % 256, 50), 255, calc.similarityNormal(led, (countLocal / 3) % 360, 90));
  }
  NeopixelTape.show();
  HAL_Delay(1);
}

void mode14()
{
  static uint16_t i = 60;
  if (i > 1)
  {
    i--;
  }
  sendData(0, 0, 0);
  servo0.moveCont(0, 6000, servoPos0);
  servo1.moveStop1(0, 2048);
  servo2.moveCont(0, 6000, servoPos2);
  servo3.moveStop3(0, 1900);
  for (uint8_t led = 0; led < 48; led++)
  {
    NeopixelTape.set_hsv(led, hue, 255, i);
  }
  NeopixelTape.show();
  HAL_Delay(1);
}

void mode15()
{
  countLocal = millis - 244500;
  servo0.moveCont(0, 6000, servoPos0);
  servo1.moveStop1(0, 2048);
  servo2.moveCont(0, 6000, servoPos2);
  servo3.moveStop3(0, 1900);
  for (uint8_t led = 0; led < 48; led++)
  {
    NeopixelTape.set_hsv(led, hue, 255, 0);
  }
  NeopixelTape.show();
  HAL_Delay(1);
}

void modeError()
{
  servo0.moveCont(500, 2048, servoPos0);
  servo1.moveStop1(500, 2048);
  servo2.moveCont(500, 2048, servoPos2);
  servo3.moveStop3(500, 1800);
  for (uint8_t led = 0; led < 48; led++)
  {
    NeopixelTape.set_hsv(led, 0, 0, 0);
  }
  NeopixelTape.show();
  HAL_Delay(1);
}

/* USER CODE END 4 */

void Error_Handler(void)
{
  __disable_irq();
  while (1)
  {
  }
}
